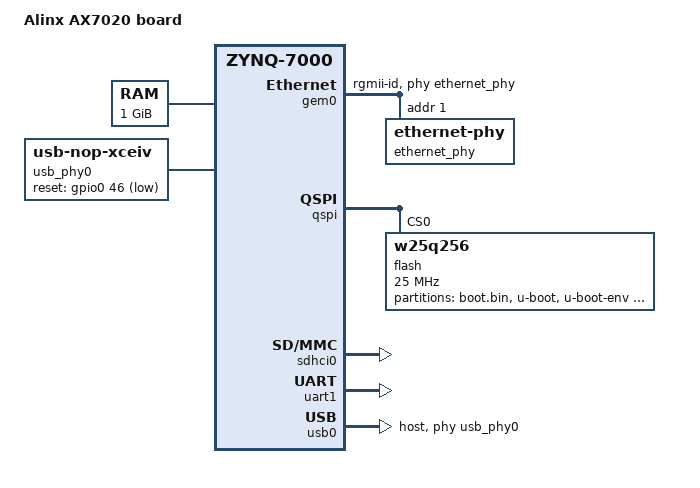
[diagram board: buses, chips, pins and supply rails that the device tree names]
// SPDX-License-Identifier: GPL-2.0+
/*
 * Alinx AX7020 (XC7Z020-2CLG400) — Linux device tree
 *
 * Peripheral facts taken from the Alinx linux_base Vivado project
 * (design_1.hwh) and the AX7020 V2.0 schematic; see the repository README.
 * This is the Linux counterpart of uboot/zynq-ax7020.dts — U-Boot needs only
 * what it drives itself, the kernel wants the full picture.
 */
/dts-v1/;
#include <dt-bindings/gpio/gpio.h>
#include "zynq-7000.dtsi"

/ {
	model = "Alinx AX7020 board";
	compatible = "alinx,zynq-ax7020", "xlnx,zynq-7000";

	aliases {
		ethernet0 = &gem0;
		serial0 = &uart1;
		spi0 = &qspi;
		mmc0 = &sdhci0;
	};

	memory@0 {
		device_type = "memory";
		reg = <0x0 0x40000000>;	/* 2x MT41J256M16, 32-bit -> 1 GiB */
	};

	chosen {
		/*
		 * No serial cable on this board: ttyPS0 stays the console
		 * device, but the kernel log is also shipped over UDP by the
		 * netconsole module. U-Boot overrides bootargs anyway.
		 */
		stdout-path = "serial0:115200n8";
	};

	usb_phy0: phy0 {
		#phy-cells = <0>;
		compatible = "usb-nop-xceiv";
		reset-gpios = <&gpio0 46 GPIO_ACTIVE_LOW>;
	};
};

&clkc {
	ps-clk-frequency = <33333333>;
};

&gem0 {
	status = "okay";
	phy-mode = "rgmii-id";
	phy-handle = <&ethernet_phy>;

	ethernet_phy: ethernet-phy@1 {	/* RTL8211E-VL */
		reg = <1>;
	};
};

&qspi {
	status = "okay";
	num-cs = <1>;
	flash@0 {
		compatible = "w25q256", "jedec,spi-nor";
		reg = <0>;
		spi-tx-bus-width = <1>;
		spi-rx-bus-width = <1>;
		spi-max-frequency = <25000000>;
		#address-cells = <1>;
		#size-cells = <1>;

		/* Keep this in sync with the flashing procedure in the README. */
		partition@0 {
			label = "boot.bin";
			reg = <0x000000 0x100000>;
		};
		partition@100000 {
			label = "u-boot";
			reg = <0x100000 0x200000>;
		};
		partition@300000 {
			label = "u-boot-env";
			reg = <0x300000 0x40000>;
		};
		partition@340000 {
			label = "fit";        /* kernel + dtb + initramfs */
			reg = <0x340000 0x1cc0000>;
		};
	};
};

&sdhci0 {
	status = "okay";
};

&uart1 {
	status = "okay";
};

&usb0 {
	status = "okay";
	dr_mode = "host";
	usb-phy = <&usb_phy0>;
};
